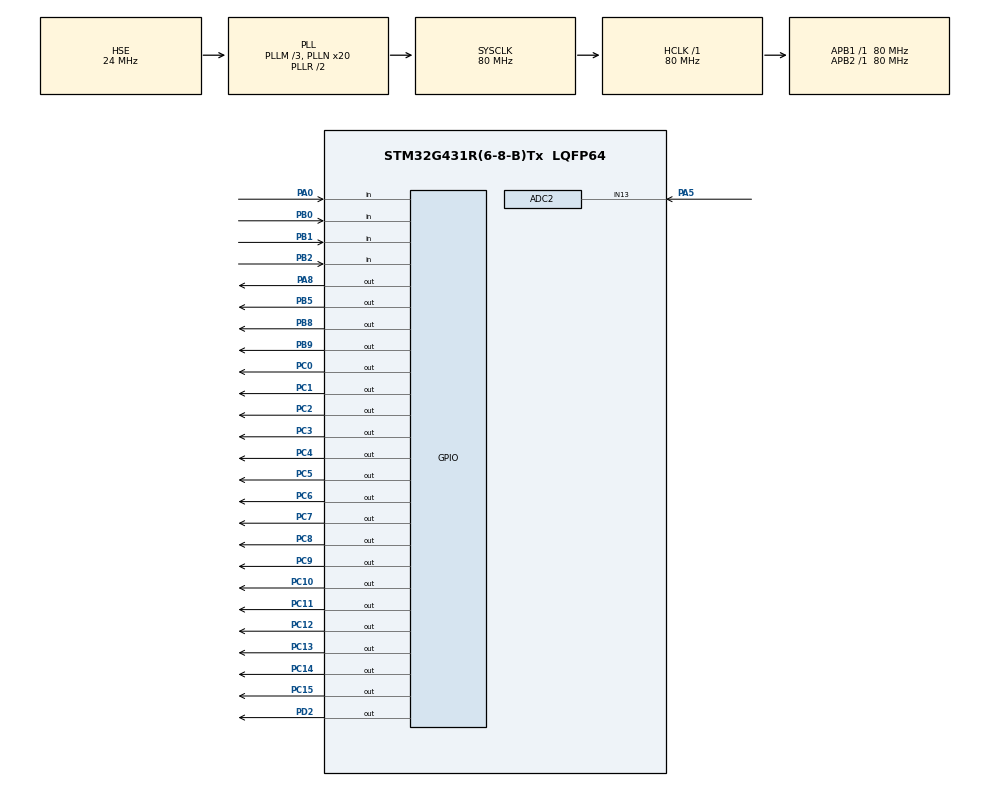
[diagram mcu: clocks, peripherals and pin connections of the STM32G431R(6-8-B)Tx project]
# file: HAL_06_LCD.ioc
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Mcu.Family=STM32G4
Dma.ADC2.0.SyncRequestNumber=1
RCC.CortexFreq_Value=80000000
Dma.ADC2.0.SyncEnable=DISABLE
Dma.ADC2.0.RequestNumber=1
ADC2.Channel-0\#ChannelRegularConversion=ADC_CHANNEL_13
PC10.Signal=GPIO_Output
PC12.Signal=GPIO_Output
RCC.SYSCLKSource=RCC_SYSCLKSOURCE_PLLCLK
ProjectManager.StackSize=0x400
ADC2.DMAContinuousRequests=ENABLE
PB1.GPIO_PuPd=GPIO_NOPULL
RCC.HCLKFreq_Value=80000000
Dma.ADC2.0.Direction=DMA_PERIPH_TO_MEMORY
RCC.APB2TimFreq_Value=80000000
PC7.Signal=GPIO_Output
Dma.ADC2.0.MemInc=DMA_MINC_ENABLE
PC3.Signal=GPIO_Output
RCC.AHBFreq_Value=80000000
Dma.ADC2.0.Priority=DMA_PRIORITY_LOW
RCC.HSE_VALUE=24000000
PB2.Signal=GPIO_Input
RCC.ADC12Freq_Value=80000000
Dma.ADC2.0.SyncSignalID=NONE
PA14.Mode=Serial_Wire
VP_SYS_VS_DBSignals.Mode=DisableDeadBatterySignals
Dma.ADC2.0.SignalID=NONE
PA8.Signal=GPIO_Output
PB2.GPIO_PuPd=GPIO_NOPULL
PA0.Signal=GPIO_Input
Dma.ADC2.0.Polarity=HAL_DMAMUX_REQ_GEN_RISING
Mcu.Package=LQFP64
PB9.Signal=GPIO_Output
PB1.Signal=GPIO_Input
PB0.GPIO_Mode=GPIO_MODE_INPUT
PA0.GPIO_PuPd=GPIO_NOPULL
ADC2.SamplingTime-0\#ChannelRegularConversion=ADC_SAMPLETIME_2CYCLES_5
Dma.ADC2.0.EventEnable=DISABLE
Dma.ADC2.0.Mode=DMA_CIRCULAR
Dma.ADC2.0.PeriphDataAlignment=DMA_PDATAALIGN_HALFWORD
RCC.APB1TimFreq_Value=80000000
PC5.Signal=GPIO_Output
ADC2.Rank-0\#ChannelRegularConversion=1
PF1-OSC_OUT.Mode=HSE-External-Oscillator
Dma.Request0=ADC2
PF1-OSC_OUT.Signal=RCC_OSC_OUT
RCC.HSI48_VALUE=48000000
PA5.Mode=IN13-Single-Ended
RCC.PLLSourceVirtual=RCC_PLLSOURCE_HSE
TIM4.AutoReloadPreload=TIM_AUTORELOAD_PRELOAD_ENABLE
PC11.Signal=GPIO_Output
PC13.Signal=GPIO_Output
TIM4.PeriodNoDither=1000 - 1
PC8.Signal=GPIO_Output
PC4.Signal=GPIO_Output
PC2.Signal=GPIO_Output
PC6.Signal=GPIO_Output
PA0.GPIO_Mode=GPIO_MODE_INPUT
RCC.EXTERNAL_CLOCK_VALUE=12288000
PC0.Signal=GPIO_Output
PC14-OSC32_IN.Signal=GPIO_Output
Dma.ADC2.0.SyncPolarity=HAL_DMAMUX_SYNC_NO_EVENT
PA13.Signal=SYS_JTMS-SWDIO
ADC2.ContinuousConvMode=ENABLE
ProjectManager.TargetToolchain=MDK-ARM V5.27
Dma.ADC2.0.MemDataAlignment=DMA_MDATAALIGN_HALFWORD
PB1.GPIO_Mode=GPIO_MODE_INPUT
RCC.USBFreq_Value=80000000
TIM4.Prescaler=80 - 1
RCC.LSE_VALUE=32768
PC15-OSC32_OUT.Signal=GPIO_Output
PF0-OSC_IN.Mode=HSE-External-Oscillator
PA5.Signal=ADC2_IN13
ADC2.OffsetNumber-0\#ChannelRegularConversion=ADC_OFFSET_NONE
PB8-BOOT0.Signal=GPIO_Output
board=custom
RCC.VCOOutputFreq_Value=160000000
Dma.ADC2.0.PeriphInc=DMA_PINC_DISABLE
RCC.APB2Freq_Value=80000000
PB2.GPIO_Mode=GPIO_MODE_INPUT
PA13.Mode=Serial_Wire
Mcu.Name=STM32G431R(6-8-B)Tx
RCC.SYSCLKFreq_VALUE=80000000
PB5.Signal=GPIO_Output
ADC2.NbrOfConversionFlag=1
PA14.Signal=SYS_JTCK-SWCLK
ProjectManager.HeapSize=0x200
RCC.HSI_VALUE=16000000
VP_TIM4_VS_ClockSourceINT.Mode=Internal
NVIC.PriorityGroup=NVIC_PRIORITYGROUP_4
RCC.PLLM=RCC_PLLM_DIV3
RCC.PLLN=20
PC9.Signal=GPIO_Output
PF0-OSC_IN.Signal=RCC_OSC_IN
PD2.Signal=GPIO_Output
NVIC.TIM4_IRQn=true\:0\:0\:false\:false\:true\:true\:true
RCC.APB1Freq_Value=80000000
Dma.ADC2.0.Instance=DMA1_Channel1
PB0.Signal=GPIO_Input
PC1.Signal=GPIO_Output
PB0.GPIO_PuPd=GPIO_NOPULL

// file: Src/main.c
/* USER CODE BEGIN Header */
/**
  ******************************************************************************
  * @file           : main.c
  * @brief          : Main program body
  ******************************************************************************
  * @attention
  *
  * <h2><center>&copy; Copyright (c) 2021 STMicroelectronics.
  * All rights reserved.</center></h2>
  *
  * This software component is licensed by ST under BSD 3-Clause license,
  * the "License"; You may not use this file except in compliance with the
  * License. You may obtain a copy of the License at:
  *                        opensource.org/licenses/BSD-3-Clause
  *
  ******************************************************************************
  */
/* USER CODE END Header */

#include "main.h"
#include "adc.h"
#include "dma.h"
#include "tim.h"
#include "gpio.h"

/* USER CODE BEGIN PV */
uint16_t led_tick = 0;
_Bool led_flag = 0;

uint8_t key_tick = 0;

uint16_t adc_key_value;
uint8_t adc_key_tick = 0;
_Bool adc_key_flag;

uint8_t lcd_str[20];
/* USER CODE END PV */

void SystemClock_Config(void);
/* USER CODE BEGIN PFP */
void led_proc(void);
void key_scan(void);
void adc_key_scan(void);
/* USER CODE END PFP */

int main(void)
{

  /* MCU Configuration--------------------------------------------------------*/

  /* Reset of all peripherals, Initializes the Flash interface and the Systick. */
  HAL_Init();

  /* Configure the system clock */
  SystemClock_Config();

  /* Initialize all configured peripherals */
  MX_GPIO_Init();
  MX_DMA_Init();
  MX_TIM4_Init();
  MX_ADC2_Init();
  /* USER CODE BEGIN 2 */

	LCD_Init();

	led_init();

	HAL_TIM_Base_Start_IT(&htim4);

	HAL_ADCEx_Calibration_Start(&hadc2,ADC_SINGLE_ENDED);

	HAL_ADC_Start_DMA(&hadc2,(uint32_t*)&adc_key_value,1);

  /* USER CODE END 2 */

  /* Infinite loop */
  /* USER CODE BEGIN WHILE */

	LCD_Clear(Blue);
	LCD_SetBackColor(Blue);
	LCD_SetTextColor(White);

	LCD_DisplayStringLine(Line0, (uint8_t *)"                    ");
	LCD_DisplayStringLine(Line1, (uint8_t *)"                    ");
	LCD_DisplayStringLine(Line2, (uint8_t *)"      LCD Test      ");
	LCD_DisplayStringLine(Line3, (uint8_t *)"                    ");
	LCD_DisplayStringLine(Line4, (uint8_t *)"                    ");

	LCD_SetBackColor(White);
	LCD_SetTextColor(Blue);

	LCD_DisplayStringLine(Line5, (uint8_t *)"                    ");
	LCD_DisplayStringLine(Line6, (uint8_t *)"       HAL LIB      ");
	LCD_DisplayStringLine(Line7, (uint8_t *)"                    ");
	LCD_DisplayStringLine(Line8, (uint8_t *)"                    ");
	LCD_DisplayStringLine(Line9, (uint8_t *)"                    ");

  while (1)
  {
    /* USER CODE END WHILE */

    /* USER CODE BEGIN 3 */
		led_proc();
  }
  /* USER CODE END 3 */
}

void SystemClock_Config(void)
{
  RCC_OscInitTypeDef RCC_OscInitStruct = {0};
  RCC_ClkInitTypeDef RCC_ClkInitStruct = {0};
  RCC_PeriphCLKInitTypeDef PeriphClkInit = {0};

  /** Configure the main internal regulator output voltage
  */
  HAL_PWREx_ControlVoltageScaling(PWR_REGULATOR_VOLTAGE_SCALE1);
  /** Initializes the CPU, AHB and APB busses clocks
  */
  RCC_OscInitStruct.OscillatorType = RCC_OSCILLATORTYPE_HSE;
  RCC_OscInitStruct.HSEState = RCC_HSE_ON;
  RCC_OscInitStruct.PLL.PLLState = RCC_PLL_ON;
  RCC_OscInitStruct.PLL.PLLSource = RCC_PLLSOURCE_HSE;
  RCC_OscInitStruct.PLL.PLLM = RCC_PLLM_DIV3;
  RCC_OscInitStruct.PLL.PLLN = 20;
  RCC_OscInitStruct.PLL.PLLP = RCC_PLLP_DIV2;
  RCC_OscInitStruct.PLL.PLLQ = RCC_PLLQ_DIV2;
  RCC_OscInitStruct.PLL.PLLR = RCC_PLLR_DIV2;
  if (HAL_RCC_OscConfig(&RCC_OscInitStruct) != HAL_OK)
  {
    Error_Handler();
  }
  /** Initializes the CPU, AHB and APB busses clocks
  */
  RCC_ClkInitStruct.ClockType = RCC_CLOCKTYPE_HCLK|RCC_CLOCKTYPE_SYSCLK
                              |RCC_CLOCKTYPE_PCLK1|RCC_CLOCKTYPE_PCLK2;
  RCC_ClkInitStruct.SYSCLKSource = RCC_SYSCLKSOURCE_PLLCLK;
  RCC_ClkInitStruct.AHBCLKDivider = RCC_SYSCLK_DIV1;
  RCC_ClkInitStruct.APB1CLKDivider = RCC_HCLK_DIV1;
  RCC_ClkInitStruct.APB2CLKDivider = RCC_HCLK_DIV1;

  if (HAL_RCC_ClockConfig(&RCC_ClkInitStruct, FLASH_LATENCY_3) != HAL_OK)
  {
    Error_Handler();
  }
  /** Initializes the peripherals clocks
  */
  PeriphClkInit.PeriphClockSelection = RCC_PERIPHCLK_ADC12;
  PeriphClkInit.Adc12ClockSelection = RCC_ADC12CLKSOURCE_SYSCLK;
  if (HAL_RCCEx_PeriphCLKConfig(&PeriphClkInit) != HAL_OK)
  {
    Error_Handler();
  }
}

/* USER CODE BEGIN 4 */
void key_scan(void)
{
	key_refresh();
	if(key_falling == B1)
	{
		led_toggle(LD5);
	}
	else if(key_falling == B2)
	{
		led_toggle(LD6);
	}
	else if(key_falling == B3)
	{
		led_toggle(LD7);
	}
	else if(key_falling == B4)
	{
		led_toggle(LD8);
	}
}

void led_proc(void)
{
	if(led_flag)
	{
		led_flag = 0;
//		led_toggle(LD1);
	}
}

void adc_key_scan(void)
{
	static uint8_t adc_key_falling = 0;
	static uint8_t adc_key_state = 0;
	uint8_t adc_key_temp = 0x00;
	if(adc_key_value < 300)
		adc_key_temp |= 0x01;
	else if(adc_key_value < 800)
		adc_key_temp |= 0x02;
	else if(adc_key_value < 1500)
		adc_key_temp |= 0x04;
	else if(adc_key_value < 2000)
		adc_key_temp |= 0x08;
	else if(adc_key_value < 2500)
		adc_key_temp |= 0x10;
	else if(adc_key_value < 3200)
		adc_key_temp |= 0x20;
	else if(adc_key_value < 3500)
		adc_key_temp |= 0x40;
	else if(adc_key_value < 4000)
		adc_key_temp |= 0x80;
	adc_key_falling = adc_key_temp & (adc_key_state ^ adc_key_temp);
	adc_key_state = adc_key_temp;
	memset(lcd_str,0,sizeof(lcd_str));
	sprintf((char*)lcd_str,"Value:%d     ",adc_key_value);
	LCD_DisplayStringLine(Line8, lcd_str);
	if(adc_key_falling == 0x01)
	{
		led_toggle(LD1);
	}
	else if(adc_key_falling == 0x02)
	{
		led_toggle(LD2);
	}
	else if(adc_key_falling == 0x04)
	{
		led_toggle(LD3);
	}
	else if(adc_key_falling == 0x08)
	{
		led_toggle(LD4);
	}
	else if(adc_key_falling == 0x10)
	{
		led_toggle(LD5);
	}
	else if(adc_key_falling == 0x20)
	{
		led_toggle(LD6);
	}
	else if(adc_key_falling == 0x40)
	{
		led_toggle(LD7);
	}
	else if(adc_key_falling == 0x80)
	{
		led_toggle(LD8);
	}
}

void HAL_TIM_PeriodElapsedCallback(TIM_HandleTypeDef *htim)
{
	if(htim->Instance == TIM4)
	{
		if(++led_tick == 1000)
		{
			led_tick = 0;
			led_flag = 1;
		}
		if(++key_tick == 10)
		{
			key_tick = 0;
			key_scan();
		}
		if(++adc_key_tick == 10)
		{
			adc_key_tick = 0;
			adc_key_scan();
		}
	}
}
/* USER CODE END 4 */

void Error_Handler(void)
{
}

/************************ (C) COPYRIGHT STMicroelectronics *****END OF FILE****/
